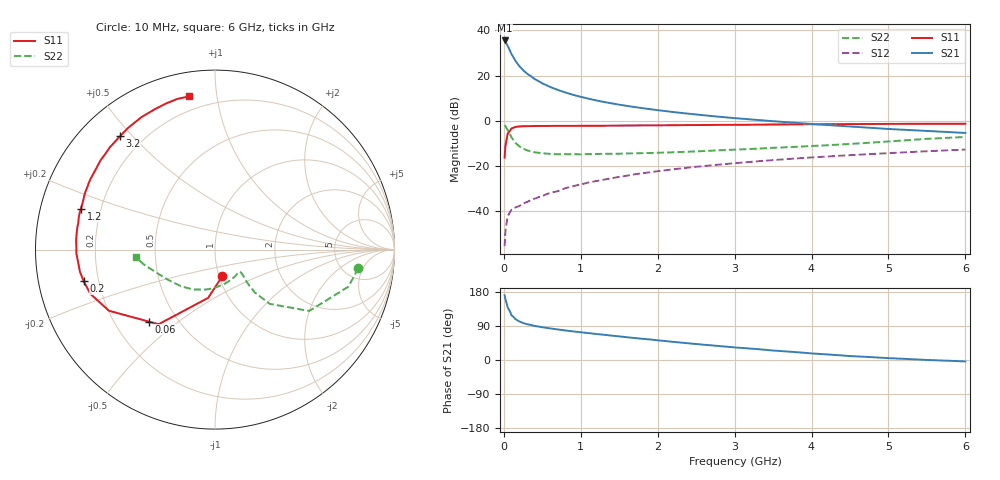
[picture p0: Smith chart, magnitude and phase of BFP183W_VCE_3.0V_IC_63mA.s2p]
! Infineon Technologies  Discrete & RF Semiconductors
! BFP183W
! VCE =  3.0 V,  IC =  63 mA
! Common Emitter S-Parameters:  Jan 2017
# GHz  S  MA  R  50
!  f  S11  S21  S12  S22
! GHz  MAG  ANG  MAG  ANG  MAG  ANG  MAG  ANG
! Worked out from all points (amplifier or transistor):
!   77 points, 10 MHz to 6 GHz, reference 50 ohm
!   highest |S21| = 35.6 dB at 10 MHz (marker M1)
!   |S21| within 3 dB of that: start of sweep to 58.57 MHz
!   unconditionally stable (mu >= 1): start of sweep to 16.4 MHz; 292.1 MHz to 5.412 GHz
!   at 130 MHz: K = 0.62, MSG = 33.2 dB, |S12| = -38.6 dB
!   at 2.2 GHz: K = 1.24, MAG = 9.7 dB, |S12| = -21.4 dB
!   at 6 GHz: K = 1.00, MSG = 3.7 dB, |S12| = -12.7 dB
!   S11 on the Smith chart (normalised r, x): 10 MHz: 1.03, -0.32; 60 MHz: 0.34, -0.39; 200 MHz: 0.14, -0.12; 1.2 GHz: 0.13, +0.15; 3.2 GHz: 0.12, +0.46; 6 GHz: 0.12, +0.84
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0.01  0.1542 -74.9  60.08 170.7  0.0017 80.2  0.8049 -7.4
0.02  0.2718 -98.1  57.67 160.5  0.0035 79.6  0.7716 -15.5
0.05  0.5215 -127.1  45.53 138.0  0.0077 55.3  0.6264 -33.1
0.06  0.5454 -132.7  42.05 135.2  0.0083 53.1  0.5856 -34.8
0.1  0.6818 -150.0  29.75 117.7  0.0109 47.0  0.4297 -44.7
0.15  0.7362 -160.3  21.32 108.0  0.0122 45.1  0.3279 -47.1
0.2  0.7524 -166.4  16.38 101.8  0.0131 47.4  0.2752 -46.4
0.25  0.7626 -170.7  13.28 97.6  0.0149 48.7  0.244 -45.0
0.3  0.7649 -173.8  11.14 94.6  0.0161 50.4  0.224 -43.7
0.4  0.7724 -178.3  8.442 89.9  0.0191 57.3  0.2025 -41.8
0.5  0.7732 178.3  6.764 86.4  0.022 60.0  0.1926 -41.4
0.7  0.7762 173.4  4.848 80.7  0.0279 66.0  0.1836 -42.5
0.9  0.7763 168.8  3.771 75.5  0.0361 67.4  0.1833 -46.1
1.1  0.7815 164.9  3.101 71.0  0.0435 69.6  0.1849 -50.2
1.2  0.781 163.0  2.843 68.7  0.0467 68.9  0.1855 -52.2
1.6  0.7907 155.8  2.146 60.1  0.0615 69.2  0.1911 -62.5
2.1  0.7999 146.8  1.649 50.0  0.081 68.0  0.1998 -77.7
3.1  0.8214 131.5  1.117 31.8  0.12 62.0  0.2353 -108.6
3.2  0.8236 130.0  1.083 30.2  0.1239 61.4  0.2393 -111.5
4.1  0.845 117.8  0.834 16.1  0.1594 54.8  0.2839 -136.2
5.1  0.8598 107.4  0.65 4.0  0.1976 47.0  0.3606 -160.6
6  0.8656 99.6  0.542 -3.8  0.2326 39.6  0.4423 -174.3
